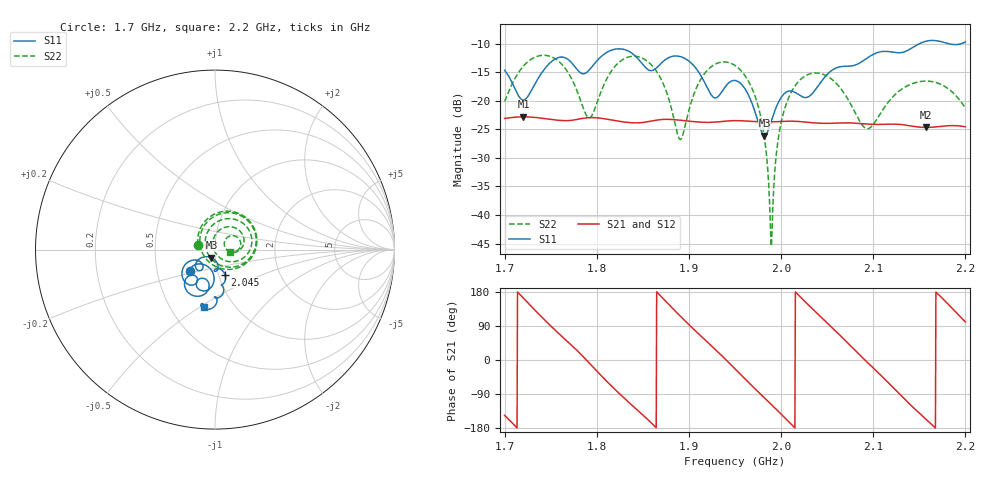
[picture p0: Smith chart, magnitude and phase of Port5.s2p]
# Hz S RI R 50
! CMT, CMT808U, 21440046, 21.4.3/4
! Date: 11/12/2025 3:06:49 PM
! Data: Format (Calibration Info)
! Freq	S11:Re/Im(F2)	S41:Re/Im(F2)	S14:Re/Im(F2)	S44:Re/Im(F2)
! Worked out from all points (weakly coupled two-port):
!   1001 points, 1.7 GHz to 2.2 GHz, reference 50 ohm
!   highest |S21| = -22.82 dB at 1.72 GHz (marker M1); lowest = -24.7 dB at 2.157 GHz (marker M2)
!   lowest |S11| = -26.1 dB at 1.982 GHz (marker M3), VSWR 1.10, Z = 47.8 - j4.34 ohm
!   |S11| at or under -10 dB: start of sweep to 2.15 GHz; 2.181 GHz to 2.196 GHz (14.8 MHz wide, 0.676 % of centre)
!   |S22| runs from -45.5 to -12.1 dB; largest |S21 - S12| = 7.4e-05
!   S11 on the Smith chart (normalised r, x): 1.7 GHz: 0.73, -0.18; 2.045 GHz: 1.07, -0.31; 2.2 GHz: 0.73, -0.52
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1.7e9  -0.1417 -0.1181  -0.0582 -0.0389  -0.0582 -0.0389  -0.0946 0.0268
1.7205e9  -0.0473 -0.0896  -0.0691 0.0212  -0.0691 0.0212  0.00387 0.2011
1.755e9  -0.0465 -0.2273  0.0137 0.0664  0.0136 0.0664  0.2313 0.0225
1.7835e9  -0.0678 -0.1596  0.0679 0.0161  0.0679 0.0161  0.00471 -0.0948
1.7935e9  -0.0343 -0.1894  0.0695 -0.0151  0.0696 -0.0151  -0.0682 -0.0228
1.8245e9  -0.1333 -0.2511  0.00153 -0.066  0.00156 -0.066  0.0721 0.2056
1.867e9  -0.0983 -0.1757  -0.0677 0.00606  -0.0677 0.00604  0.1483 -0.0824
1.8905e9  -0.1753 -0.1687  -0.0296 0.0606  -0.0297 0.0606  -0.0407 -0.0208
1.917e9  -0.1311 -0.0604  0.0379 0.0524  0.0379 0.0524  0.042 0.1677
1.929e9  -0.0755 -0.0738  0.058 0.0293  0.058 0.0294  0.1377 0.1581
1.95e9  -0.1017 -0.1105  0.0614 -0.0267  0.0614 -0.0267  0.2023 0.0205
1.97e9  -0.0752 -0.045  0.0204 -0.0626  0.0205 -0.0626  0.0984 -0.0677
1.982e9  -0.02 -0.0453  -0.0115 -0.0644  -0.0114 -0.0644  0.0225 -0.0414
1.9895e9  0.00692 -0.0663  -0.0304 -0.0579  -0.0303 -0.0579  -0.0052 -0.00123
1.996e9  0.0171 -0.091  -0.0447 -0.048  -0.0447 -0.048  -0.0114 0.0393
2.0035e9  0.0121 -0.1147  -0.0577 -0.0321  -0.0577 -0.0321  0.00187 0.0828
2.0335e9  0.0311 -0.1103  -0.0464 0.0444  -0.0464 0.0444  0.1406 0.1018
2.0445e9  0.0558 -0.1397  -0.0225 0.0593  -0.0225 0.0592  0.1614 0.0575
2.092e9  0.0486 -0.2268  0.0625 -0.00263  0.0625 -0.0026  0.0556 0.0139
2.117e9  0.00226 -0.2687  0.03 -0.0546  0.0301 -0.0546  0.0703 0.0692
2.157e9  -0.024 -0.3299  -0.0532 -0.0239  -0.0532 -0.024  0.1411 0.046
2.2e9  -0.0605 -0.3204  -0.0107 0.0581  -0.0107 0.0581  0.0858 -0.0107
